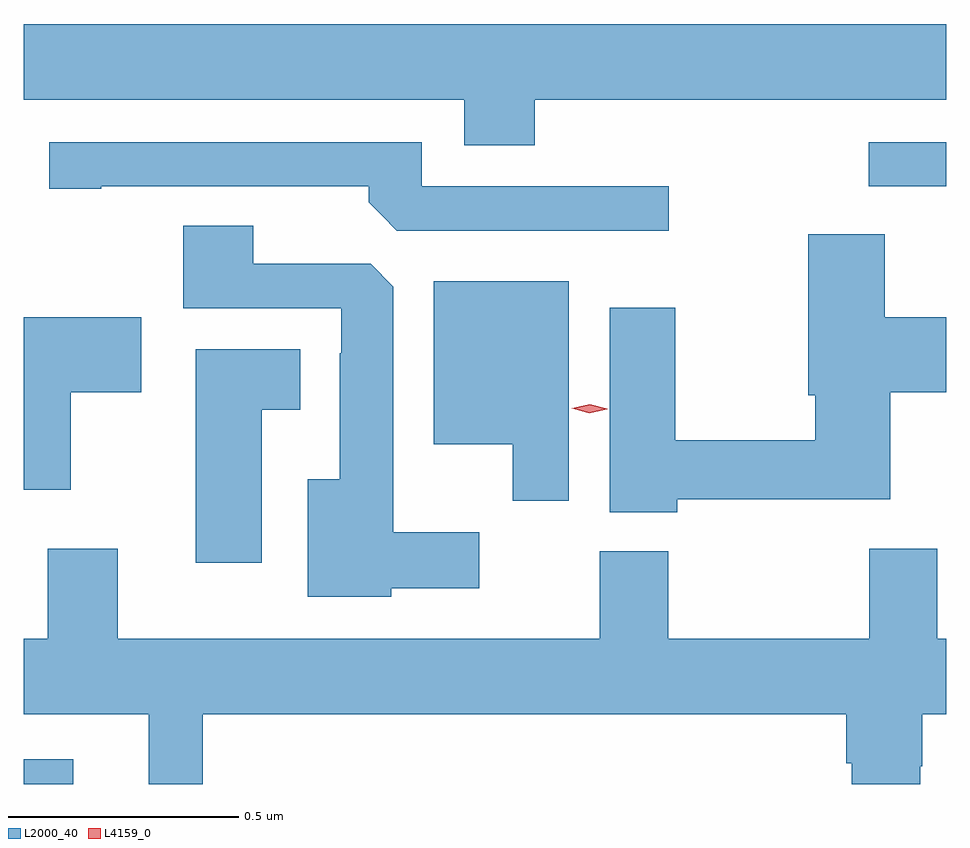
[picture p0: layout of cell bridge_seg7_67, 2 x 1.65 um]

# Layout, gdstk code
import gdstk
lib = gdstk.Library(unit=1e-6, precision=1e-09)
def R(c, l, rs):  # rectangles x0, y0, x1, y1
    for r in rs: c.add(gdstk.rectangle(r[:2], r[2:], *l))
def P(c, l, *ps):  # polygons
    for p in ps: c.add(gdstk.Polygon(p, *l))
L2000_40 = (2000, 40)
L4159_0 = (4159, 0)

bridge_seg7_67 = lib.new_cell('bridge_seg7_67')
R(bridge_seg7_67, L2000_40, [(1077.388,1025.773,1077.496,1025.827), (1079.22,1027.068,1079.388,1027.164)])
P(bridge_seg7_67, L2000_40, [(1078.496,1027.256),(1079.388,1027.256),(1079.388,1027.42),(1077.388,1027.42),(1077.388,1027.256),(1078.343,1027.256),(1078.343,1027.157),(1078.496,1027.157)],
  [(1078.786,1027.068),(1078.251,1027.068),(1078.251,1027.164),(1077.444,1027.164),(1077.444,1027.063),(1077.556,1027.063),(1077.556,1027.068),(1078.136,1027.068),(1078.136,1027.034),(1078.164,1027.005),(1078.197,1026.972),(1078.786,1026.972)],
  [(1078.185,1026.197),(1078.375,1026.197),(1078.375,1026.319),(1078.189,1026.319),(1078.189,1026.851),(1078.14,1026.9),(1077.886,1026.9),(1077.886,1026.983),(1077.734,1026.983),(1077.734,1026.804),(1078.077,1026.804),(1078.077,1026.707),(1078.073,1026.707),(1078.073,1026.433),(1078.004,1026.433),(1078.004,1026.179),(1078.185,1026.179)],
  [(1078.805,1026.39),(1079.266,1026.39),(1079.266,1026.622),(1079.388,1026.622),(1079.388,1026.784),(1079.254,1026.784),(1079.254,1026.964),(1079.089,1026.964),(1079.089,1026.615),(1079.104,1026.615),(1079.104,1026.518),(1078.8,1026.518),(1078.8,1026.805),(1078.658,1026.805),(1078.658,1026.362),(1078.805,1026.362)],
  [(1078.57,1026.862),(1078.277,1026.862),(1078.277,1026.509),(1078.448,1026.509),(1078.448,1026.387),(1078.57,1026.387)],
  [(1077.49,1026.622),(1077.643,1026.622),(1077.643,1026.784),(1077.388,1026.784),(1077.388,1026.411),(1077.49,1026.411)],
  [(1077.904,1026.584),(1077.988,1026.584),(1077.988,1026.715),(1077.761,1026.715),(1077.761,1026.252),(1077.904,1026.252)],
  [(1079.331,1025.811),(1079.336,1025.811),(1079.336,1025.924),(1079.388,1025.924),(1079.388,1026.088),(1079.368,1026.088),(1079.368,1026.283),(1079.221,1026.283),(1079.221,1026.088),(1078.785,1026.088),(1078.785,1026.277),(1078.637,1026.277),(1078.637,1026.088),(1077.592,1026.088),(1077.592,1026.283),(1077.44,1026.283),(1077.44,1026.088),(1077.388,1026.088),(1077.388,1025.924),(1077.659,1025.924),(1077.659,1025.773),(1077.776,1025.773),(1077.776,1025.924),(1079.171,1025.924),(1079.171,1025.818),(1079.183,1025.818),(1079.183,1025.773),(1079.331,1025.773)])
P(bridge_seg7_67, L4159_0, [(1078.614,1026.576),(1078.576,1026.587),(1078.576,1026.587),(1078.576,1026.587),(1078.615,1026.596),(1078.653,1026.586),(1078.653,1026.585),(1078.653,1026.585)])

lib.write_gds('bridge_seg7_67.gds')
